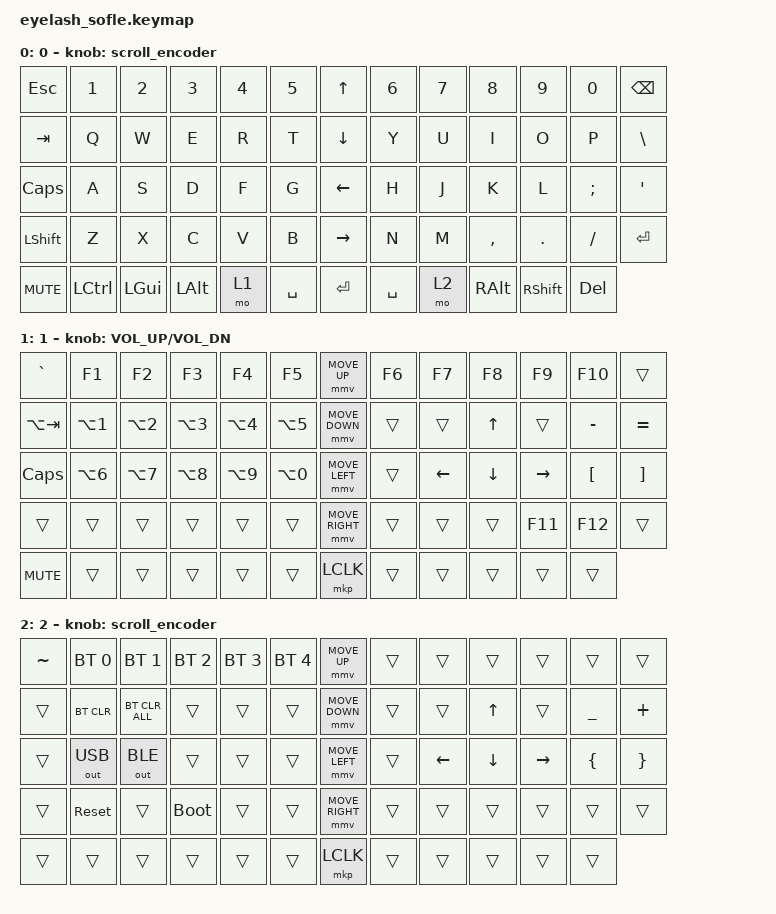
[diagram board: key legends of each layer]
#define ZMK_POINTING_DEFAULT_MOVE_VAL 1200  // 600
#define ZMK_POINTING_DEFAULT_SCRL_VAL 35    // 10

#include <input/processors.dtsi>
#include <zephyr/dt-bindings/input/input-event-codes.h>
#include <behaviors.dtsi>
#include <dt-bindings/zmk/bt.h>
#include <dt-bindings/zmk/keys.h>
#include <dt-bindings/zmk/outputs.h>
#include <dt-bindings/zmk/pointing.h>

/ {
    zip_scroll_scaler: zip_scroll_scaler {
        compatible = "zmk,input-processor-scaler";
        #input-processor-cells = <2>;
        type = <INPUT_EV_REL>;
        codes = <INPUT_REL_WHEEL INPUT_REL_HWHEEL>;
        track-remainders;
    };
};

&mmv_input_listener { input-processors = <&zip_xy_scaler 2 1>; };

&msc_input_listener { input-processors = <&zip_scroll_scaler 2 1>; };

&msc {
    acceleration-exponent = <0>;      // 0
    time-to-max-speed-ms = <0>;       // 300
    delay-ms = <0>;                   // 0
};

&mmv {
    time-to-max-speed-ms = <400>;
    acceleration-exponent = <1>;
};

/ {
    scroll_encoder: scroll_encoder {
        compatible = "zmk,behavior-sensor-rotate";
        #sensor-binding-cells = <0>;
        bindings = <&msc SCRL_DOWN>, <&msc SCRL_UP>;

        tap-ms = <100>;
    };

    macros {
        shift_MB3: shift_MB3 {
            compatible = "zmk,behavior-macro";
            #binding-cells = <0>;
            bindings =
                <&macro_press>,
                <&kp LEFT_SHIFT>,
                <&macro_press>,
                <&mkp MB3>,
                <&macro_pause_for_release>,
                <&macro_release>,
                <&mkp MB3 &kp LEFT_SHIFT>;

            label = "SHIFT_MB3";
        };
    };

    behaviors {
    };

    keymap {
        compatible = "zmk,keymap";

        layer_0 {
            bindings = <
&kp ESC     &kp N1            &kp N2        &kp N3        &kp N4  &kp N5       &kp UP_ARROW     &kp N6     &kp N7  &kp N8         &kp N9           &kp N0      &kp BACKSPACE
&kp TAB     &kp Q             &kp W         &kp E         &kp R   &kp T        &kp DOWN_ARROW   &kp Y      &kp U   &kp I          &kp O            &kp P       &kp BSLH
&kp CAPS    &kp A             &kp S         &kp D         &kp F   &kp G        &kp LEFT_ARROW   &kp H      &kp J   &kp K          &kp L            &kp SEMI    &kp APOS
&kp LSHFT   &kp Z             &kp X         &kp C         &kp V   &kp B        &kp RIGHT_ARROW  &kp N      &kp M   &kp COMMA      &kp DOT          &kp FSLH    &kp ENTER
&kp C_MUTE  &kp LEFT_CONTROL  &kp LEFT_GUI  &kp LEFT_ALT  &mo 1   &kp SPACE    &kp ENTER        &kp SPACE  &mo 2   &kp RIGHT_ALT  &kp RIGHT_SHIFT  &kp DELETE
            >;
            sensor-bindings = <&scroll_encoder>;
           
            display-name = "0";
        };

        layer_1 {
            bindings = <
&kp GRAVE    &kp F1            &kp F2            &kp F3            &kp F4            &kp F5              &mmv MOVE_UP     &kp F6  &kp F7    &kp F8    &kp F9     &kp F10           &trans
&kp LA(TAB)  &kp LA(NUMBER_1)  &kp LA(NUMBER_2)  &kp LA(NUMBER_3)  &kp LA(NUMBER_4)  &kp LA(N5)          &mmv MOVE_DOWN   &trans  &trans    &kp UP    &trans     &kp MINUS         &kp EQUAL
&kp CAPS     &kp LA(NUMBER_6)  &kp LA(NUMBER_7)  &kp LA(NUMBER_8)  &kp LA(NUMBER_9)  &kp LA(NUMBER_0)    &mmv MOVE_LEFT   &trans  &kp LEFT  &kp DOWN  &kp RIGHT  &kp LEFT_BRACKET  &kp RIGHT_BRACKET
&trans       &trans            &trans            &trans            &trans            &trans              &mmv MOVE_RIGHT  &trans  &trans    &trans    &kp F11    &kp F12           &trans
&kp C_MUTE   &trans            &trans            &trans            &trans            &trans              &mkp LCLK        &trans  &trans    &trans    &trans     &trans
            >;

            display-name = "1";
            sensor-bindings = <&inc_dec_kp C_VOLUME_UP C_VOL_DN>;
            
        };

        layer_2 {
            bindings = <
&kp TILDE  &bt BT_SEL 0  &bt BT_SEL 1    &bt BT_SEL 2  &bt BT_SEL 3  &bt BT_SEL 4    &mmv MOVE_UP     &trans  &trans          &trans          &trans           &trans     &trans
&trans     &bt BT_CLR    &bt BT_CLR_ALL  &trans        &trans        &trans          &mmv MOVE_DOWN   &trans  &trans          &kp UP_ARROW    &trans           &kp UNDER  &kp PLUS
&trans     &out OUT_USB  &out OUT_BLE    &trans        &trans        &trans          &mmv MOVE_LEFT   &trans  &kp LEFT_ARROW  &kp DOWN_ARROW  &kp RIGHT_ARROW  &kp LBRC   &kp RBRC
&trans     &sys_reset    &trans          &bootloader   &trans        &trans          &mmv MOVE_RIGHT  &trans  &trans          &trans          &trans           &trans     &trans
&trans     &trans        &trans          &trans        &trans        &trans          &mkp LCLK        &trans  &trans          &trans          &trans           &trans
            >;

            sensor-bindings = <&scroll_encoder>;
            label = "2";
        };
    };
};
